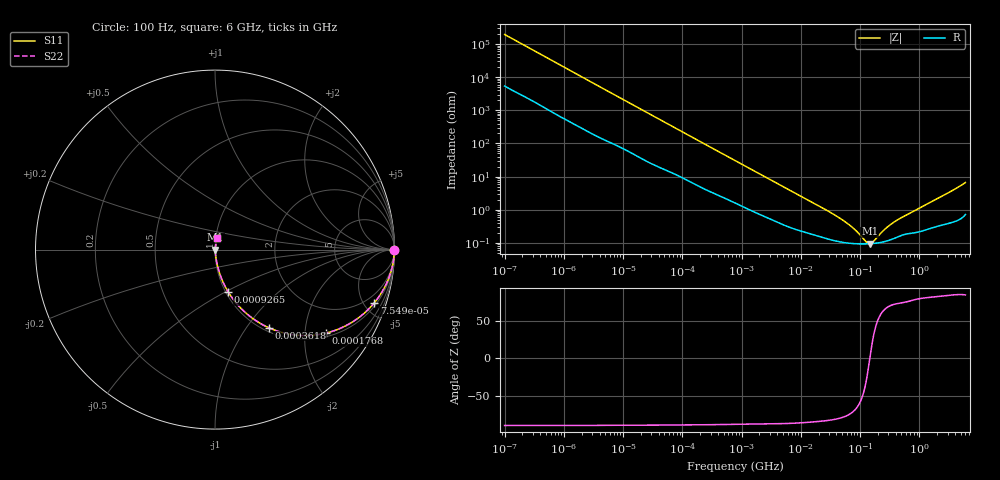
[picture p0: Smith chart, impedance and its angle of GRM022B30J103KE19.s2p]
!Murata Part Number: GRM022B30J103KE19
!These Parameters are Measured in Series Mode Connection
!Data Generated on Mar 30, 2021
!  o--ll--o
!Port1  Port2
!  o------o
!Operation Temp=25[degC], DC Bias Voltage=0[V]
!Freq. Start=100[Hz] Stop=6[GHz] 401[Steps]
# Hz S RI R 50
!Freq.(Hz) S11(Real) S11(Imag) S21(Real) S21(Imag) S12(Real) S12(Imag) S22(Real) S22(Imag)
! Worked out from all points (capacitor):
!   401 points, 100 Hz to 6 GHz, reference 50 ohm
!   read as one part in series: C = 8.09 nF near 109 Hz
!   lowest |Z| = 93.7 mohm at 145.9 MHz (marker M1)
!   series resonance near 146.1 MHz, so ESL is about 150 pH
!   S11 on the Smith chart (normalised r, x): 100 Hz: open; 75.5 kHz: 1.24, -5.88; 176.8 kHz: 1.11, -2.57; 361.8 kHz: 1.06, -1.28; 926.5 kHz: 1.03, -0.51; 6 GHz: 1.01, +0.13
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100  1 -0.000511  1.44e-05 0.000511  1.44e-05 0.000511  1 -0.000511
2008  0.9996 -0.00972  0.000366 0.00972  0.000366 0.00972  0.9996 -0.00972
12592  0.9946 -0.0585  0.00539 0.0585  0.00539 0.0585  0.9946 -0.0585
40335  0.9612 -0.1761  0.0388 0.1761  0.0388 0.1761  0.9612 -0.1761
75495  0.8869 -0.2973  0.1131 0.2973  0.1131 0.2973  0.8869 -0.2973
112960  0.7885 -0.3882  0.2115 0.3882  0.2115 0.3882  0.7885 -0.3882
176758  0.618 -0.4653  0.382 0.4653  0.382 0.4653  0.618 -0.4653
252896  0.4529 -0.4764  0.5471 0.4764  0.5471 0.4764  0.4529 -0.4764
361830  0.2986 -0.435  0.7014 0.435  0.7014 0.435  0.2986 -0.435
774597  0.0973 -0.2715  0.9027 0.2715  0.9027 0.2715  0.0973 -0.2715
926525  0.073 -0.235  0.927 0.235  0.927 0.235  0.073 -0.235
2967816  0.0121 -0.0819  0.9879 0.0819  0.9879 0.0819  0.0121 -0.0819
1.555665e7  0.00207 -0.0166  0.9979 0.0166  0.9979 0.0166  0.00207 -0.0166
5.699437e7  0.00102 -0.00409  0.999 0.00409  0.999 0.00409  0.00102 -0.00409
8.527865e7  0.000939 -0.00214  0.9991 0.00214  0.9991 0.00214  0.000939 -0.00214
1.275994e8  0.000927 -0.000514  0.9991 0.000514  0.9991 0.000514  0.000927 -0.000514
1.459435e8  0.000936 -3.7e-06  0.9991 3.7e-06  0.9991 3.7e-06  0.000936 -3.7e-06
1.669249e8  0.000953 0.000506  0.999 -0.000506  0.999 -0.000506  0.000953 0.000506
2.388273e8  0.00105 0.00193  0.9989 -0.00193  0.9989 -0.00193  0.00105 0.00193
3.124326e8  0.0012 0.00311  0.9988 -0.00311  0.9988 -0.00311  0.0012 0.00311
4.888888e8  0.00167 0.00538  0.9983 -0.00538  0.9983 -0.00538  0.00167 0.00538
6e9  0.0113 0.0643  0.9887 -0.0643  0.9887 -0.0643  0.0113 0.0643
